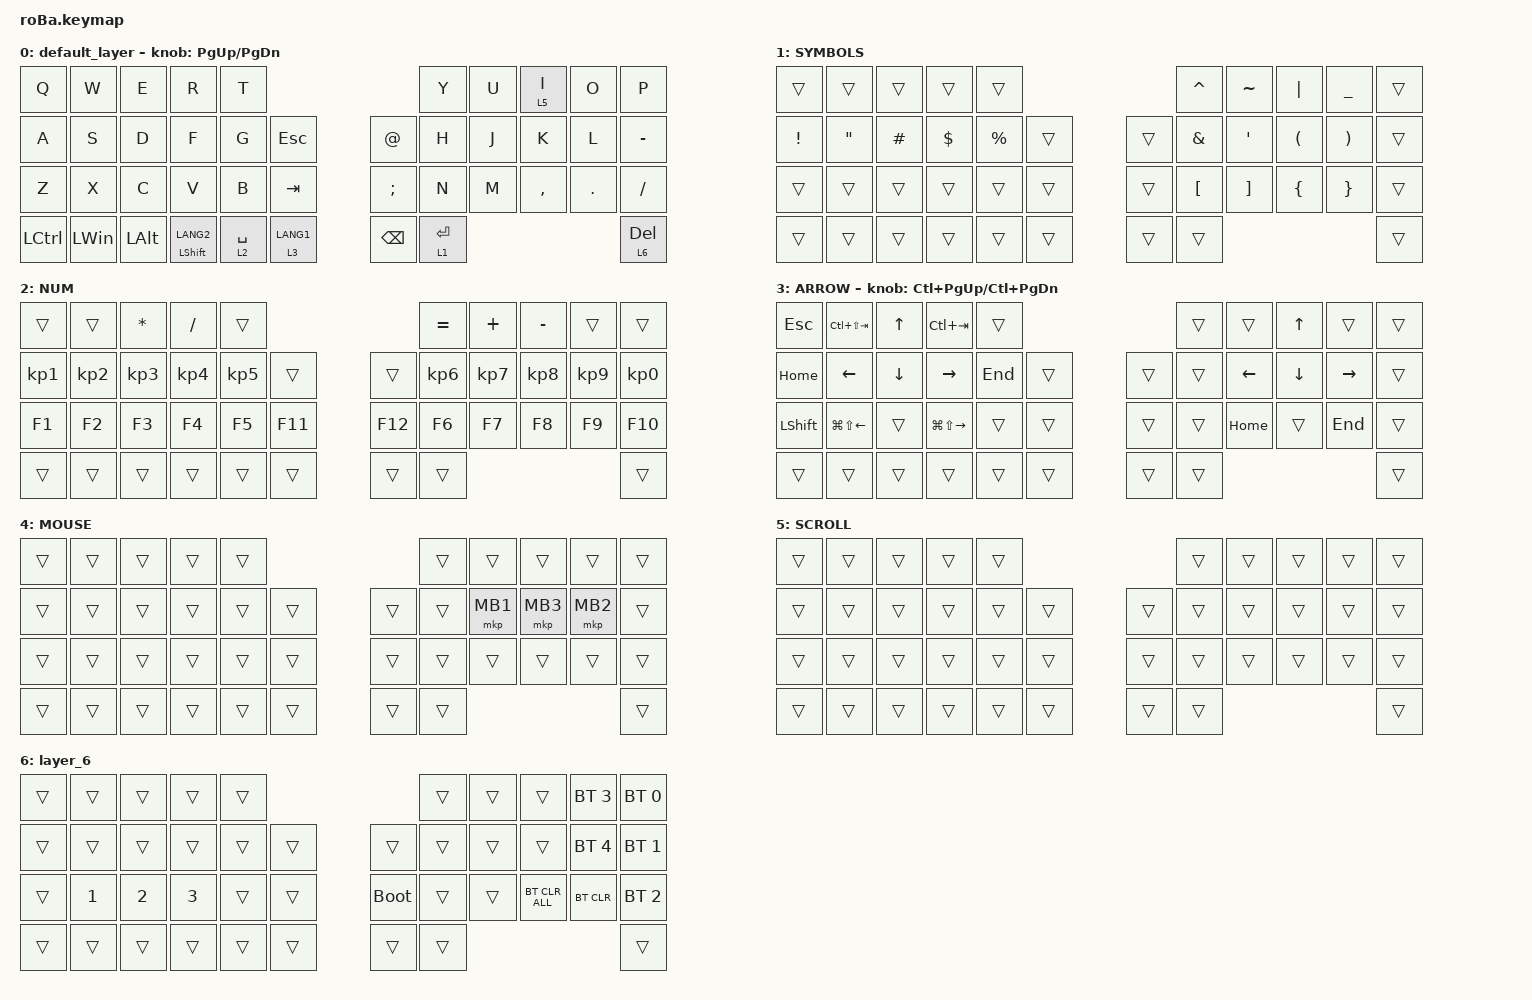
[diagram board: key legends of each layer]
#include <behaviors.dtsi>
#include <dt-bindings/zmk/bt.h>
#include <dt-bindings/zmk/keys.h>
#include <dt-bindings/zmk/pointing.h>

&mt {
    flavor = "balanced";
    quick-tap-ms = <0>;
};

&trackball {
    automouse-layer = <4>;
    scroll-layers = <5>;

    // arrows {
    //     layers = <3>;
    //     bindings =
    //         <&kp RIGHT_ARROW>,
    //         <&kp LEFT_ARROW>,
    //         <&kp UP_ARROW>,
    //         <&kp DOWN_ARROW>;
    //     tick = <10>;
    //     wait-ms = <5>;
    //     tap-ms = <5>;
    // };
};

/ {
    combos {
        compatible = "zmk,combos";

        tab {
            bindings = <&kp TAB>;
            key-positions = <11 12>;
        };

        shift_tab {
            bindings = <&kp LS(TAB)>;
            key-positions = <12 13>;
        };

        muhennkann {
            bindings = <&to_layer_0 INT_MUHENKAN>;
            key-positions = <11 10>;
        };

        double_quotation {
            bindings = <&kp DOUBLE_QUOTES>;
            key-positions = <20 21>;
        };

        eq {
            bindings = <&kp EQUAL>;
            key-positions = <24 25>;
        };
    };

    macros {
        to_layer_0: to_layer_0 {
            compatible = "zmk,behavior-macro-one-param";
            #binding-cells = <1>;
            bindings = <&to 0 &macro_param_1to1 &kp MACRO_PLACEHOLDER>;
            label = "TO_LAYER_0";
        };
    };

    behaviors {
        lt_to_layer_0: lt_to_layer_0 {
            compatible = "zmk,behavior-hold-tap";
            label = "LAYER_TAP_TO_0";
            bindings = <&mo>, <&to_layer_0>;

            #binding-cells = <2>;
            tapping-term-ms = <200>;
        };
    };

    keymap {
        compatible = "zmk,keymap";

        default_layer {
            bindings = <
&kp Q      &kp W         &kp E         &kp R                 &kp T                                                   &kp Y        &kp U  &lt 5 I    &kp O    &kp P
&kp A      &kp S         &kp D         &kp F                 &kp G        &kp ESCAPE                  &kp AT_SIGN    &kp H        &kp J  &kp K      &kp L    &kp MINUS
&kp Z      &kp X         &kp C         &kp V                 &kp B        &kp TAB                     &kp SEMICOLON  &kp N        &kp M  &kp COMMA  &kp DOT  &kp SLASH
&kp LCTRL  &kp LEFT_WIN  &kp LEFT_ALT  &mt LEFT_SHIFT LANG2  &lt 2 SPACE  &lt_to_layer_0 3 LANG1      &kp BACKSPACE  &lt 1 ENTER                             &lt 6 DELETE
            >;

            sensor-bindings = <&inc_dec_kp PG_UP PAGE_DOWN>;
        };

        SYMBOLS {
            bindings = <
&trans           &trans             &trans    &trans      &trans                           &kp CARET         &kp TILDE          &kp PIPE              &kp UNDERSCORE         &trans
&kp EXCLAMATION  &kp DOUBLE_QUOTES  &kp HASH  &kp DOLLAR  &kp PERCENT  &trans      &trans  &kp AMPERSAND     &kp SQT            &kp LEFT_PARENTHESIS  &kp RIGHT_PARENTHESIS  &trans
&trans           &trans             &trans    &trans      &trans       &trans      &trans  &kp LEFT_BRACKET  &kp RIGHT_BRACKET  &kp LEFT_BRACE        &kp RIGHT_BRACE        &trans
&trans           &trans             &trans    &trans      &trans       &trans      &trans  &trans                                                                            &trans
            >;
        };

        NUM {
            bindings = <
&trans     &trans     &kp ASTERISK  &kp SLASH  &trans                           &kp EQUAL  &kp PLUS   &kp MINUS  &trans     &trans
&kp KP_N1  &kp KP_N2  &kp KP_N3     &kp KP_N4  &kp KP_N5  &trans       &trans   &kp KP_N6  &kp KP_N7  &kp KP_N8  &kp KP_N9  &kp KP_N0
&kp F1     &kp F2     &kp F3        &kp F4     &kp F5     &kp F11      &kp F12  &kp F6     &kp F7     &kp F8     &kp F9     &kp F10
&trans     &trans     &trans        &trans     &trans     &trans       &trans   &trans                                      &trans
            >;
        };

        ARROW {
            bindings = <
&kp ESCAPE      &kp LC(LS(TAB))         &kp UP_ARROW    &kp LC(TAB)              &trans                       &trans  &trans          &kp UP_ARROW    &trans           &trans
&kp HOME        &kp LEFT_ARROW          &kp DOWN_ARROW  &kp RIGHT_ARROW          &kp END  &trans      &trans  &trans  &kp LEFT_ARROW  &kp DOWN_ARROW  &kp RIGHT_ARROW  &trans
&kp LEFT_SHIFT  &kp LG(LS(LEFT_ARROW))  &trans          &kp LG(LS(RIGHT_ARROW))  &trans   &trans      &trans  &trans  &kp HOME        &trans          &kp END          &trans
&trans          &trans                  &trans          &trans                   &trans   &trans      &trans  &trans                                                   &trans
            >;

            sensor-bindings = <&inc_dec_kp LC(PAGE_UP) LC(PAGE_DOWN)>;
        };

        MOUSE {
            bindings = <
&trans  &trans  &trans  &trans  &trans                      &trans  &trans    &trans    &trans    &trans
&trans  &trans  &trans  &trans  &trans  &trans      &trans  &trans  &mkp MB1  &mkp MB3  &mkp MB2  &trans
&trans  &trans  &trans  &trans  &trans  &trans      &trans  &trans  &trans    &trans    &trans    &trans
&trans  &trans  &trans  &trans  &trans  &trans      &trans  &trans                                &trans
            >;
        };

        SCROLL {
            bindings = <
&trans  &trans  &trans  &trans  &trans                      &trans  &trans  &trans  &trans  &trans
&trans  &trans  &trans  &trans  &trans  &trans      &trans  &trans  &trans  &trans  &trans  &trans
&trans  &trans  &trans  &trans  &trans  &trans      &trans  &trans  &trans  &trans  &trans  &trans
&trans  &trans  &trans  &trans  &trans  &trans      &trans  &trans                          &trans
            >;
        };

        layer_6 {
            bindings = <
&trans  &trans        &trans        &trans        &trans                           &trans  &trans  &trans          &bt BT_SEL 3  &bt BT_SEL 0
&trans  &trans        &trans        &trans        &trans  &trans      &trans       &trans  &trans  &trans          &bt BT_SEL 4  &bt BT_SEL 1
&trans  &kp NUMBER_1  &kp NUMBER_2  &kp NUMBER_3  &trans  &trans      &bootloader  &trans  &trans  &bt BT_CLR_ALL  &bt BT_CLR    &bt BT_SEL 2
&trans  &trans        &trans        &trans        &trans  &trans      &trans       &trans                                        &trans
            >;
        };
    };
};
